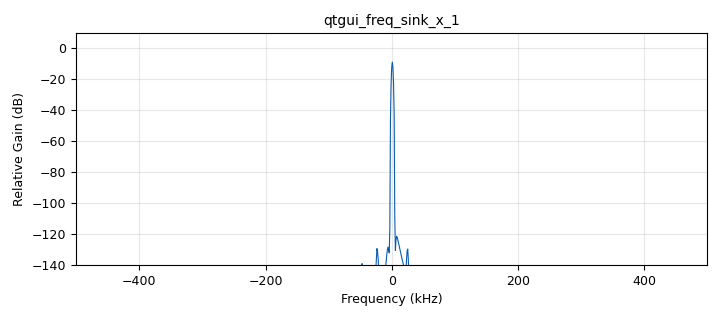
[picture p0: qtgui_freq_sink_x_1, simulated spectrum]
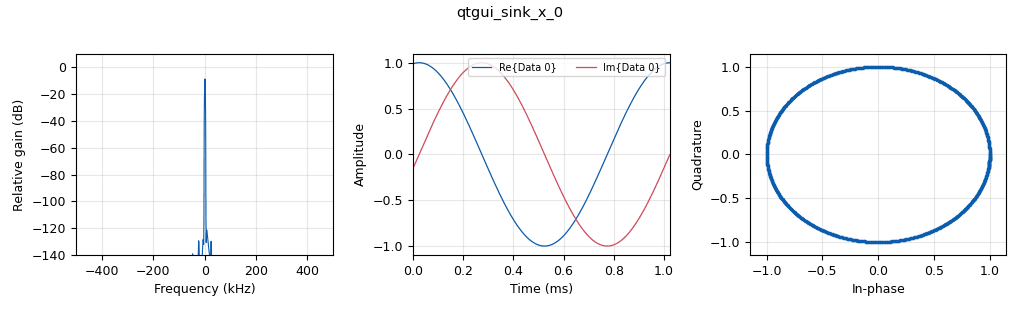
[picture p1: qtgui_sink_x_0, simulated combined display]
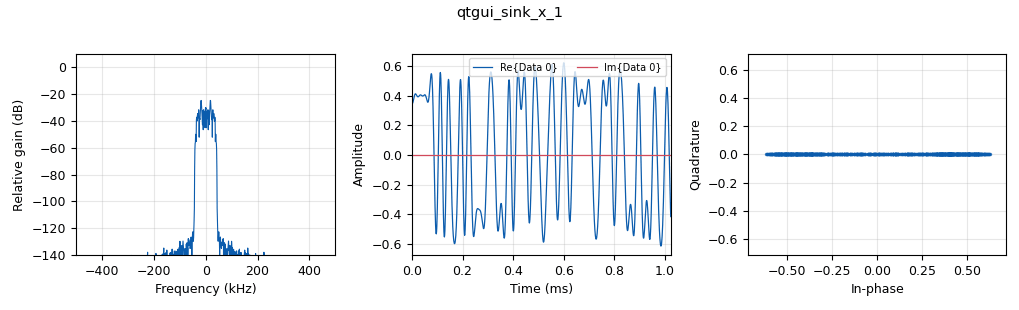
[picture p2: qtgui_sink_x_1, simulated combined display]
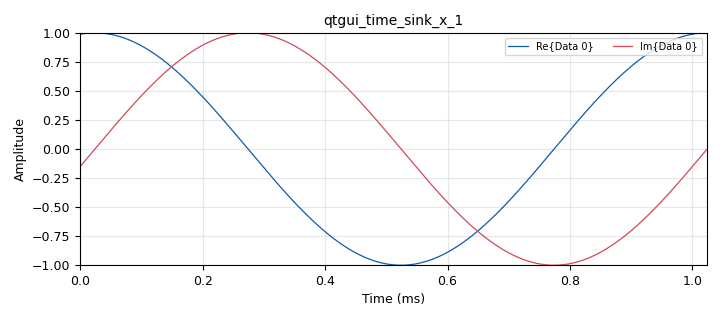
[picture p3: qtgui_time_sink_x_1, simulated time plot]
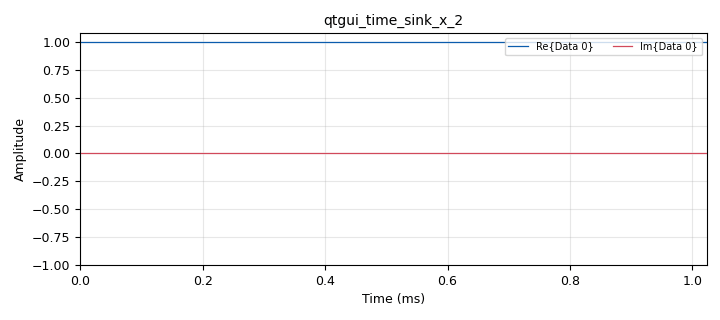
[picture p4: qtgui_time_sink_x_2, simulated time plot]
options:
  parameters:
    generate_options: qt_gui
    id: amine
    output_language: python
    title: Not titled yet
  states: {}

blocks:
- name: alpha
  id: variable
  parameters:
    value: '0.01'
  states: {}
- name: center_freq
  id: variable
  parameters:
    value: '915000000'
  states: {}
- name: constellation
  id: variable_constellation
  parameters:
    precision: '8'
    type: bpsk
  states: {}
- name: samp_rate
  id: variable
  parameters:
    value: '1000000'
  states: {}
- name: sps
  id: variable
  parameters:
    value: '16'
  states: {}
- name: analog_random_uniform_source_x_0
  id: analog_random_uniform_source_x
  parameters:
    maximum: '2'
    minimum: '0'
    seed: '0'
    type: byte
  states: {}
- name: analog_sig_source_x_0
  id: analog_sig_source_x
  parameters:
    amp: '1'
    freq: '1000'
    offset: '0'
    phase: '0'
    samp_rate: samp_rate
    type: complex
    waveform: analog.GR_COS_WAVE
  states: {}
- name: blocks_char_to_float_0
  id: blocks_char_to_float
  parameters:
    scale: '1'
  states: {}
- name: blocks_char_to_float_1
  id: blocks_char_to_float
  parameters:
    scale: '1'
  states: {}
- name: blocks_file_sink_0
  id: blocks_file_sink
  parameters:
    file: /home/benchekroun/Documents/badr/badr
    type: byte
  states: {}
- name: blocks_file_sink_1
  id: blocks_file_sink
  parameters:
    file: /home/benchekroun/Documents/badr/badr2
    type: byte
  states: {}
- name: blocks_multiply_const_vxx_0
  id: blocks_multiply_const_vxx
  parameters:
    const: '0.4'
    type: complex
  states: {}
- name: blocks_unpacked_to_packed_xx_0
  id: blocks_unpacked_to_packed_xx
  parameters:
    bits_per_chunk: '1'
    endianness: gr.GR_MSB_FIRST
    type: byte
  states: {}
- name: digital_constellation_decoder_cb_0
  id: digital_constellation_decoder_cb
  parameters:
    constellation: constellation
  states: {}
- name: digital_constellation_modulator_0
  id: digital_constellation_modulator
  parameters:
    constellation: constellation
    differential: 'True'
    excess_bw: '0.35'
    samples_per_symbol: sps
  states: {}
- name: digital_costas_loop_cc_0
  id: digital_costas_loop_cc
  parameters:
    order: '2'
    w: '0.0628'
  states: {}
- name: qtgui_freq_sink_x_1
  id: qtgui_freq_sink_x
  parameters:
    bw: samp_rate
    fc: '0'
    fftsize: '1024'
    type: complex
  states: {}
- name: qtgui_sink_x_0
  id: qtgui_sink_x
  parameters:
    bw: samp_rate
    fc: '0'
    fftsize: '1024'
    type: complex
  states: {}
- name: qtgui_sink_x_1
  id: qtgui_sink_x
  parameters:
    bw: samp_rate
    fc: '0'
    fftsize: '1024'
    type: complex
  states: {}
- name: qtgui_time_sink_x_1
  id: qtgui_time_sink_x
  parameters:
    size: '1024'
    srate: samp_rate
    type: complex
  states: {}
- name: qtgui_time_sink_x_2
  id: qtgui_time_sink_x
  parameters:
    size: '1024'
    srate: samp_rate
    type: complex
  states: {}
- name: qtgui_time_sink_x_3
  id: qtgui_time_sink_x
  parameters:
    size: '1024'
    srate: samp_rate
    type: float
  states: {}
- name: qtgui_time_sink_x_4
  id: qtgui_time_sink_x
  parameters:
    size: '1024'
    srate: samp_rate
    type: float
  states: {}

connections:
- [analog_random_uniform_source_x_0, '0', blocks_char_to_float_1, '0']
- [analog_random_uniform_source_x_0, '0', blocks_unpacked_to_packed_xx_0, '0']
- [analog_sig_source_x_0, '0', digital_costas_loop_cc_0, '0']
- [analog_sig_source_x_0, '0', qtgui_freq_sink_x_1, '0']
- [analog_sig_source_x_0, '0', qtgui_sink_x_0, '0']
- [analog_sig_source_x_0, '0', qtgui_time_sink_x_1, '0']
- [blocks_char_to_float_0, '0', qtgui_time_sink_x_3, '0']
- [blocks_char_to_float_1, '0', qtgui_time_sink_x_4, '0']
- [blocks_multiply_const_vxx_0, '0', qtgui_sink_x_1, '0']
- [blocks_unpacked_to_packed_xx_0, '0', blocks_file_sink_1, '0']
- [blocks_unpacked_to_packed_xx_0, '0', digital_constellation_modulator_0, '0']
- [digital_constellation_decoder_cb_0, '0', blocks_char_to_float_0, '0']
- [digital_constellation_decoder_cb_0, '0', blocks_file_sink_0, '0']
- [digital_constellation_modulator_0, '0', blocks_multiply_const_vxx_0, '0']
- [digital_costas_loop_cc_0, '0', digital_constellation_decoder_cb_0, '0']
- [digital_costas_loop_cc_0, '0', qtgui_time_sink_x_2, '0']

metadata:
  file_format: 1
